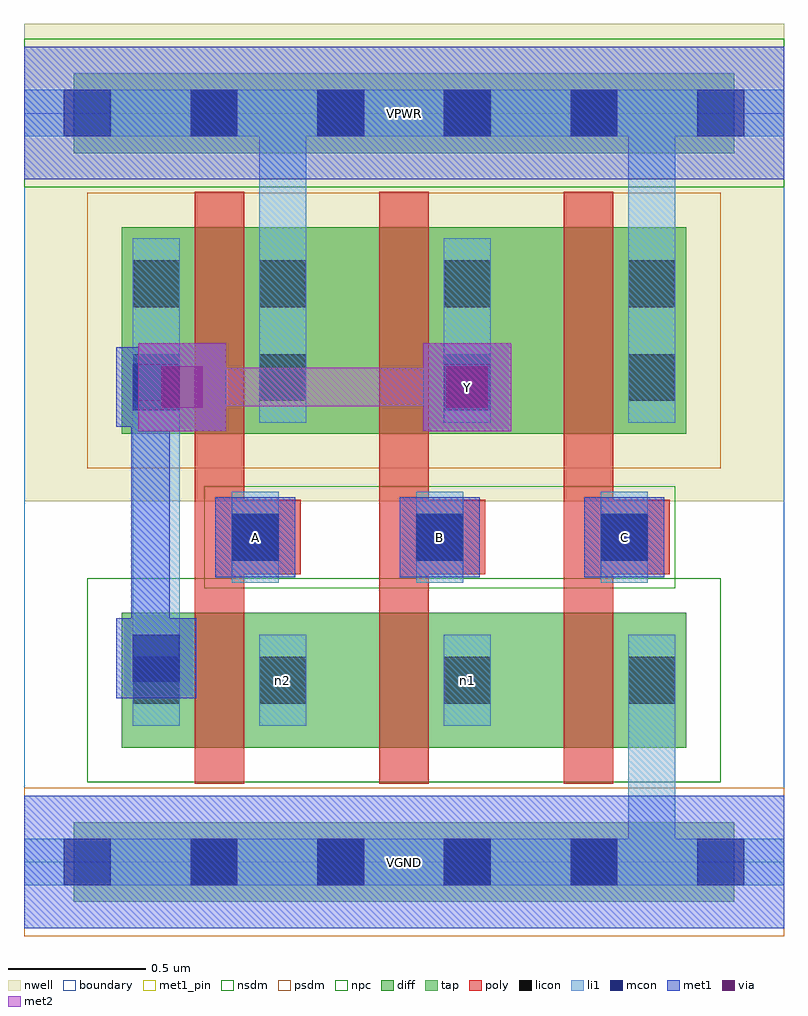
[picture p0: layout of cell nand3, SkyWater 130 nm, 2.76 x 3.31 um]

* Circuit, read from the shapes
.subckt nand3 A B C VGND VPWR Y n1 n2
XM1 n2 A Y VGND sky130_fd_pr__nfet_01v8 w=0.49 l=0.18
XM2 n1 B n2 VGND sky130_fd_pr__nfet_01v8 w=0.49 l=0.18
XM3 VGND C n1 VGND sky130_fd_pr__nfet_01v8 w=0.49 l=0.18
XM4 VPWR A Y VPWR sky130_fd_pr__pfet_01v8 w=0.75 l=0.18
XM5 Y B VPWR VPWR sky130_fd_pr__pfet_01v8 w=0.75 l=0.18
XM6 VPWR C Y VPWR sky130_fd_pr__pfet_01v8 w=0.75 l=0.18
.ends

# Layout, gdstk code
import gdstk
lib = gdstk.Library(unit=1e-6, precision=1e-09)
def R(c, l, rs):  # rectangles x0, y0, x1, y1
    for r in rs: c.add(gdstk.rectangle(r[:2], r[2:], *l))
def A(c, l, x, y, w, h, nx, ny, dx, dy):  # array of equal rectangles
    R(c, l, [(x+i*dx, y+j*dy, x+i*dx+w, y+j*dy+h) for i in range(nx) for j in range(ny)])
nwell = (64, 20)
diff = (65, 20)
tap = (65, 44)
poly = (66, 20)
licon = (66, 44)
li1 = (67, 20)
mcon = (67, 44)
met1_pin = (68, 16)
met1 = (68, 20)
via = (68, 44)
met2 = (69, 20)
nsdm = (93, 44)
psdm = (94, 20)
npc = (95, 20)
boundary = (235, 4)

nand3 = lib.new_cell('nand3')
R(nand3, nwell, [(0,1.31,2.76,3.045)])
R(nand3, diff, [(0.355,0.415,2.405,0.905), (0.355,1.555,2.405,2.305)])
R(nand3, tap, [(0.18,-0.145,2.58,0.145), (0.18,2.575,2.58,2.865)])
A(nand3, poly, 0.62, 0.285, 0.18, 2.15, 3, 1, 0.67, 0)
A(nand3, poly, 0.675, 1.045, 0.33, 0.27, 3, 1, 0.67, 0)
A(nand3, licon, 0.605, -0.085, 0.17, 0.17, 4, 2, 0.46, 2.72)
A(nand3, licon, 0.855, 0.575, 0.17, 0.17, 3, 2, 0.67, 1.1)
A(nand3, licon, 0.755, 1.095, 0.17, 0.17, 3, 1, 0.67, 0)
A(nand3, licon, 0.855, 2.015, 0.17, 0.17, 3, 1, 0.67, 0)
R(nand3, licon, [(0.395,0.575,0.565,0.745), (0.395,1.675,0.565,1.845), (0.395,2.015,0.565,2.185)])
A(nand3, li1, 0.855, 0.495, 0.17, 0.33, 3, 1, 0.67, 0)
A(nand3, li1, 0.755, 1.015, 0.17, 0.33, 3, 1, 0.67, 0)
A(nand3, li1, 0.855, 1.595, 0.17, 0.67, 3, 1, 0.67, 0)
R(nand3, li1, [(0,-0.085,2.76,0.085), (2.195,-0.085,2.365,0.825), (0.395,0.495,0.565,0.825), (0.395,0.495,0.565,2.265), (0.395,1.595,0.565,2.265), (0.855,1.595,1.025,2.805), (2.195,1.595,2.365,2.805), (0,2.635,2.76,2.805)])
A(nand3, mcon, 0.145, -0.085, 0.17, 0.17, 6, 2, 0.46, 2.72)
A(nand3, mcon, 0.755, 1.095, 0.17, 0.17, 3, 1, 0.67, 0)
R(nand3, mcon, [(0.395,0.655,0.565,0.825), (0.395,1.64,0.565,1.81), (1.525,1.64,1.695,1.81)])
A(nand3, met1_pin, 0.695, 1.035, 0.29, 0.29, 3, 1, 0.67, 0)
R(nand3, met1_pin, [(0,-0.24,2.76,0.24), (1.45,1.565,1.77,1.885), (0,2.48,2.76,2.96)])
A(nand3, met1, 0.695, 1.035, 0.29, 0.29, 3, 1, 0.67, 0)
R(nand3, met1, [(0,-0.24,2.76,0.24), (0.335,0.595,0.625,0.885), (0.39,0.67,0.55,0.81), (0.39,0.67,0.53,0.99), (0.39,0.85,0.53,1.795), (0.415,1.565,0.735,1.885), (1.45,1.565,1.77,1.885), (0.335,1.58,0.625,1.87), (1.465,1.58,1.755,1.87), (0.39,1.655,0.645,1.795), (0.41,1.655,0.645,1.795), (0,2.48,2.76,2.96)])
R(nand3, via, [(0.5,1.65,0.65,1.8), (1.535,1.65,1.685,1.8)])
R(nand3, met2, [(0.415,1.565,0.735,1.885), (1.45,1.565,1.77,1.885), (0.505,1.655,1.68,1.795)])
R(nand3, nsdm, [(0.23,0.29,2.53,1.03), (0,2.45,2.76,2.99)])
R(nand3, psdm, [(0,-0.27,2.76,0.27), (0.23,1.43,2.53,2.43)])
R(nand3, npc, [(0.655,0.995,2.365,1.365)])
R(nand3, boundary, [(0,0,2.76,2.72)])
nand3.add(gdstk.Label('n2', (0.94,0.66), layer=67, texttype=5))
nand3.add(gdstk.Label('n1', (1.61,0.66), layer=67, texttype=5))
nand3.add(gdstk.Label('A', (0.84,1.18), layer=68, texttype=5))
nand3.add(gdstk.Label('B', (1.51,1.18), layer=68, texttype=5))
nand3.add(gdstk.Label('C', (2.18,1.18), layer=68, texttype=5))
nand3.add(gdstk.Label('Y', (1.61,1.725), layer=68, texttype=5))
nand3.add(gdstk.Label('VPWR', (1.38,2.72), layer=68, texttype=5))
nand3.add(gdstk.Label('VGND', (1.38,0), layer=68, texttype=5))
nand3.add(gdstk.Label('A', (0.84,1.18), layer=68, texttype=16))
nand3.add(gdstk.Label('B', (1.51,1.18), layer=68, texttype=16))
nand3.add(gdstk.Label('C', (2.18,1.18), layer=68, texttype=16))
nand3.add(gdstk.Label('Y', (1.61,1.725), layer=68, texttype=16))
nand3.add(gdstk.Label('VPWR', (1.38,2.72), layer=68, texttype=16))
nand3.add(gdstk.Label('VGND', (1.38,0), layer=68, texttype=16))

lib.write_gds('nand3.gds')
